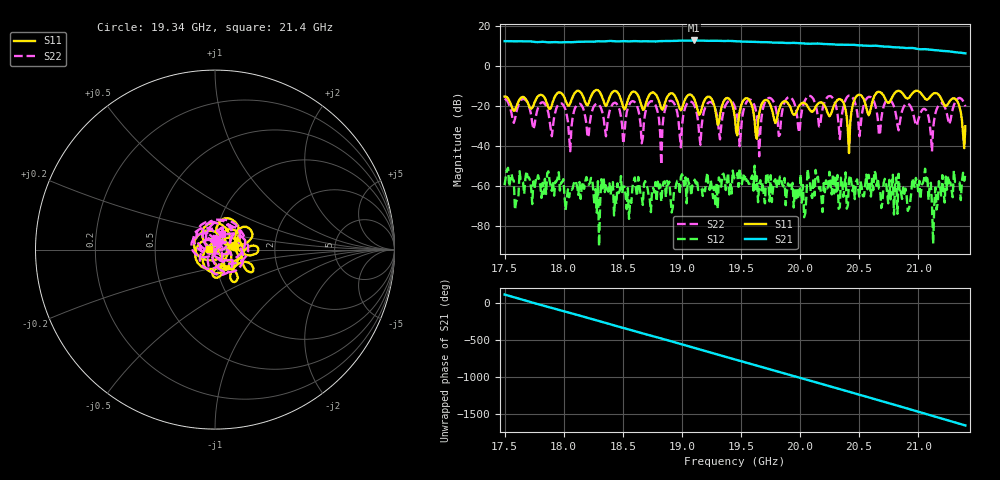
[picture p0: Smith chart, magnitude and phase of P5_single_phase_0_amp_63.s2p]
!Created with skrf (http://scikit-rf.org).
# GHz S RI R 50.0
!freq ReS11 ImS11 ReS21 ImS21 ReS12 ImS12 ReS22 ImS22
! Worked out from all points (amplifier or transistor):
!   401 points, 17.5 GHz to 21.4 GHz, reference 50 ohm
!   highest |S21| = 12.9 dB at 19.1 GHz (marker M1)
!   |S21| within 3 dB of that: start of sweep to 20.69 GHz
!   unconditionally stable (mu >= 1): start of sweep to end of sweep
!   at 18.14 GHz: K = 244.25, MAG = 12.5 dB, |S12| = -66.6 dB
!   at 19.45 GHz: K = 76.15, MAG = 12.6 dB, |S12| = -56.3 dB
!   at 21.4 GHz: K = 119.61, MAG = 6.5 dB, |S12| = -54.1 dB
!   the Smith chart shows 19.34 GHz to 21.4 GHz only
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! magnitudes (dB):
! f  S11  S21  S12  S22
! 17.5 GHz  -15.2  12.6  -59.7  -16.3
! 17.98 GHz  -13.4  12.0  -58.4  -18.6
! 18.06 GHz  -18.5  12.1  -61.8  -42.7
! 18.15 GHz  -13.9  12.3  -60.4  -19.8
! 18.5 GHz  -20.7  12.6  -60.5  -38.9
! 18.59 GHz  -12.7  12.6  -57.8  -17.6
! 18.66 GHz  -20.1  12.5  -65.2  -38.7
! 18.75 GHz  -13.2  12.4  -62.0  -17.6
! 18.81 GHz  -17.5  12.6  -61.4  -26.4
! 19.1 GHz  -15.7  12.9  -59.3  -18.8
! 19.16 GHz  -23.5  12.9  -60.9  -39.4
! 19.45 GHz  -26.2  12.5  -56.3  -20.5
! 19.65 GHz  -23.7  12.1  -59.0  -45.2
! 19.73 GHz  -17.6  12.1  -57.7  -15.9
! 19.82 GHz  -22.2  11.8  -59.8  -35.0
! 20.1 GHz  -22.9  11.3  -66.1  -15.6
! 20.34 GHz  -16.5  10.8  -70.7  -36.5
! 20.42 GHz  -43.6  10.7  -56.6  -14.7
! 20.49 GHz  -14.4  10.5  -61.8  -27.5
! 20.76 GHz  -18.2  9.8  -57.0  -16.7
! 21.12 GHz  -14.3  8.2  -69.4  -42.8
! 21.4 GHz  -30.1  6.5  -54.1  -20.2
